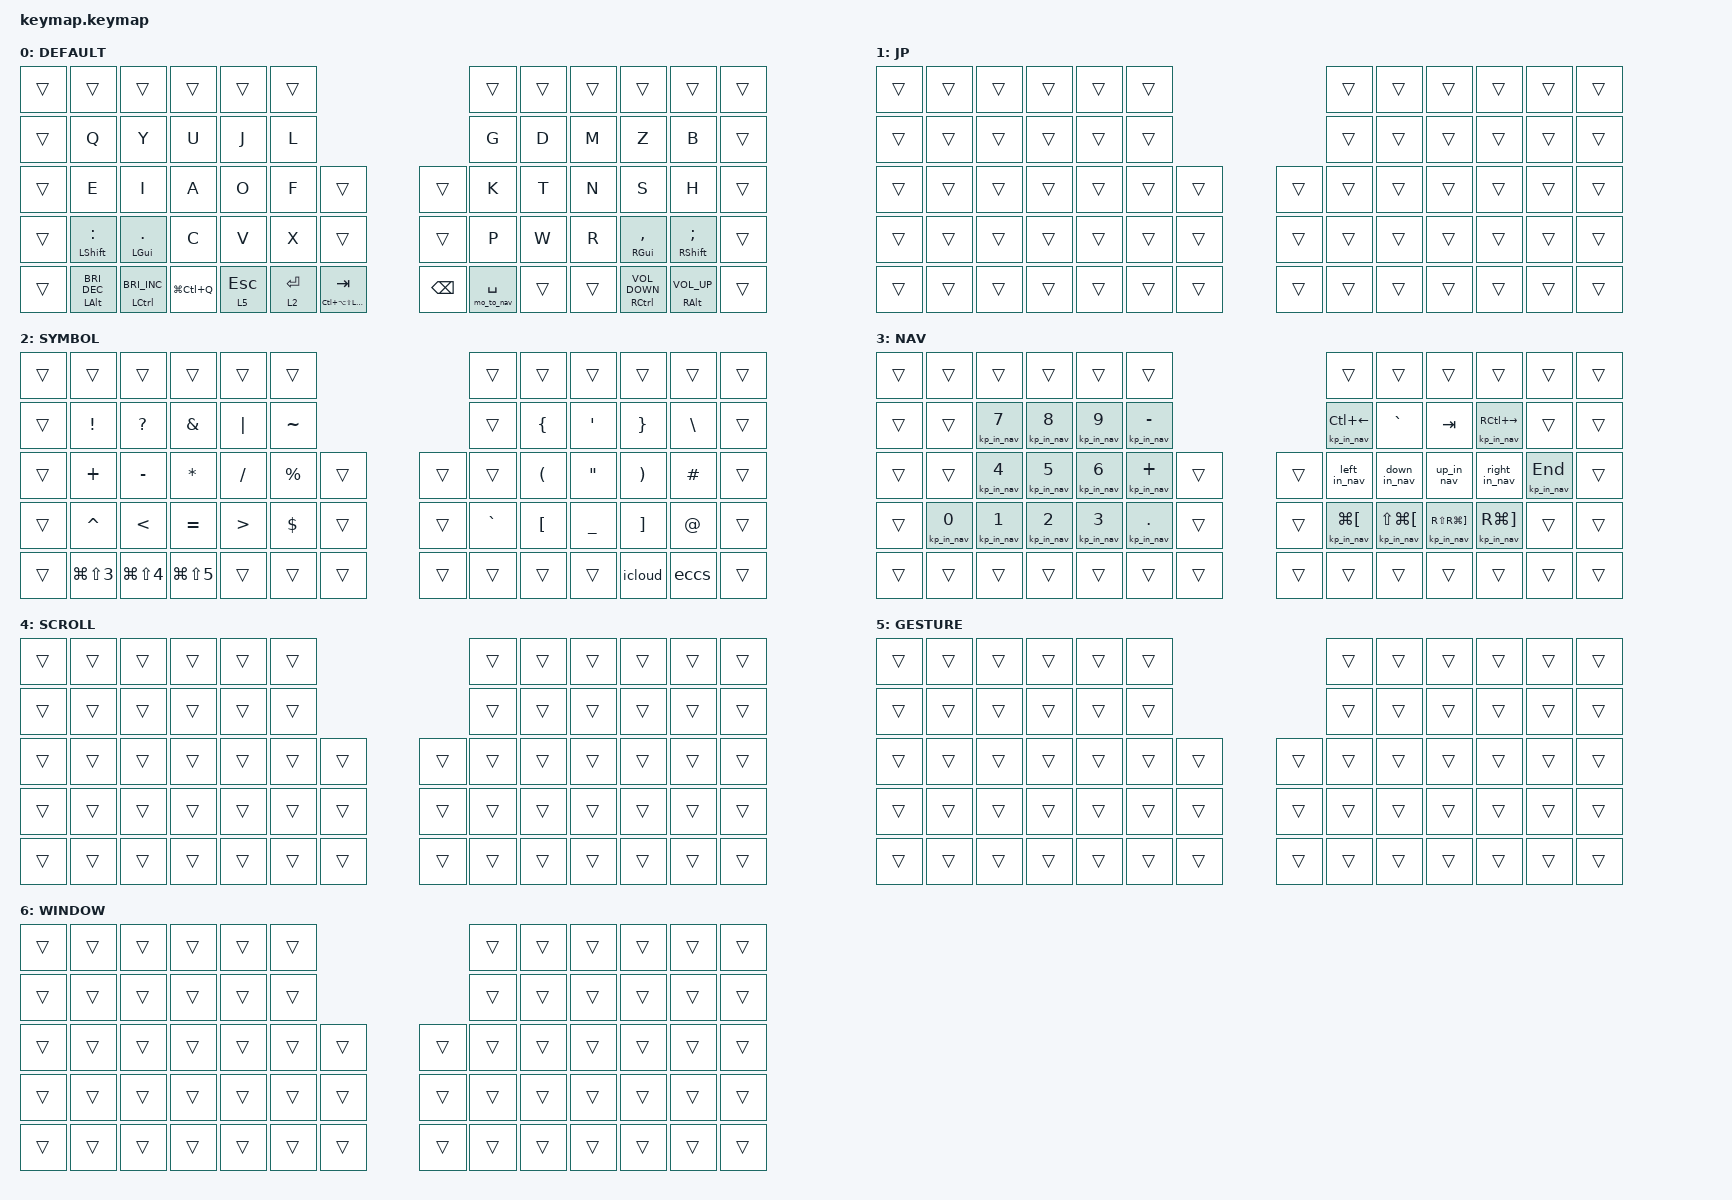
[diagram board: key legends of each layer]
#include <dt-bindings/zmk/input_transform.h>
#include <input/processors.dtsi>
#include <behaviors.dtsi>
#include <dt-bindings/zmk/keys.h>
#include <dt-bindings/zmk/pointing.h>

&pointing_listener {
    input-processors =
        <&zip_xy_scaler 2 3>,
        <&zip_xy_transform (INPUT_TRANSFORM_X_INVERT | INPUT_TRANSFORM_Y_INVERT)>;

    scroll {
        layers = <4>;
        input-processors =
            <&zip_xy_scaler 2 3>,
            <&zip_xy_transform (INPUT_TRANSFORM_X_INVERT)>,
            <&zip_xy_to_scroll_mapper>,
            <&zip_scroll_scaler 1 16>;
    };

    gesture {
        layers = <5>;
        input-processors =
            <&zip_xy_transform (INPUT_TRANSFORM_X_INVERT | INPUT_TRANSFORM_Y_INVERT)>,
            <&zip_gestures>;
    };

    window {
        layers = <6>;
        input-processors =
            <&zip_xy_transform (INPUT_TRANSFORM_X_INVERT | INPUT_TRANSFORM_Y_INVERT)>,
            <&zip_window_gestures>;
    };
};

&lt {
    hold-while-undecided;
    flavor = "hold-preferred";
};

&mt { flavor = "balanced"; };

/ {
    // Flick the trackball while GESTURE (Esc) or WINDOW (A+O) is held to tap one of these
    // bindings (up, down, left, right). They are only reachable by flicking, not by keys.
    // None of the gestures is used repeatedly, so ignore the ball for 800 ms after one fires.

    zip_gestures: zip_gestures {
        compatible = "zmk,input-processor-gestures";
        #input-processor-cells = <0>;
        bindings =
            <&kp LC(UP_ARROW)>,
            <&kp LC(DOWN_ARROW)>,
            <&kp F11>,
            <&kp LG(LC(F))>;

        cooldown-ms = <800>;
    };

    zip_window_gestures: zip_window_gestures {
        compatible = "zmk,input-processor-gestures";
        #input-processor-cells = <0>;
        bindings =
            <&kp LC(LG(UP_ARROW))>,
            <&kp LC(LG(DOWN_ARROW))>,
            <&kp LC(LG(LEFT_ARROW))>,
            <&kp LC(LG(RIGHT_ARROW))>;

        cooldown-ms = <800>;
    };

    combos {
        compatible = "zmk,combos";

        kana {
            bindings = <&tn_combo 4 0>;
            key-positions = <33 34>;
            layers = <0 1>;
        };

        eisuu {
            bindings = <&ao_combo 6 0>;
            key-positions = <28 27>;
            layers = <0 1>;
        };

        xn {
            bindings = <&xn_macro>;
            key-positions = <34 35>;
            layers = <1>;
        };

        minus {
            bindings = <&kp MINUS>;
            key-positions = <27 26>;
            timeout-ms = <40>;
            layers = <1>;
        };

        mb1 {
            bindings = <&mkp MB1>;
            timeout-ms = <80>;
            key-positions = <33 19>;
        };

        mb2 {
            bindings = <&mkp MB2>;
            timeout-ms = <80>;
            key-positions = <35 21>;
        };

        mb3 {
            bindings = <&mkp MB3>;
            timeout-ms = <80>;
            key-positions = <34 20>;
        };
    };

    behaviors {
        lt_to_nav: lt_to_nav {
            compatible = "zmk,behavior-hold-tap";
            label = "LT_TO_NAV";
            bindings = <&mo_to_nav>, <&kp>;

            #binding-cells = <2>;
            tapping-term-ms = <150>;
            hold-while-undecided;
        };

        tog_on: tog_on {
            compatible = "zmk,behavior-toggle-layer";
            label = "TOG_ON";
            #binding-cells = <1>;
            toggle-mode = "on";
        };

        tog_off: tog_off {
            compatible = "zmk,behavior-toggle-layer";
            label = "TOG_OFF";
            #binding-cells = <1>;
            toggle-mode = "off";
        };

        left_in_nav: left_in_nav {
            compatible = "zmk,behavior-mod-morph";
            label = "LEFT_IN_NAV";
            bindings = <&kp LEFT_ARROW>, <&kp LEFT_ARROW>;

            #binding-cells = <0>;
            mods = <(MOD_RGUI)>;
        };

        down_in_nav: down_in_nav {
            compatible = "zmk,behavior-mod-morph";
            label = "DOWN_IN_NAV";
            bindings = <&kp DOWN_ARROW>, <&kp DOWN_ARROW>;

            #binding-cells = <0>;
            mods = <(MOD_RGUI)>;
        };

        up_in_nav: up_in_nav {
            compatible = "zmk,behavior-mod-morph";
            label = "UP_IN_NAV";
            bindings = <&kp UP_ARROW>, <&kp UP_ARROW>;

            #binding-cells = <0>;
            mods = <(MOD_RGUI)>;
        };

        right_in_nav: right_in_nav {
            compatible = "zmk,behavior-mod-morph";
            label = "RIGHT_IN_NAV";
            bindings = <&kp RIGHT_ARROW>, <&kp RIGHT_ARROW>;

            #binding-cells = <0>;
            mods = <(MOD_RGUI)>;
        };

        tn_combo: tn_combo {
            compatible = "zmk,behavior-hold-tap";
            label = "TN_COMBO";
            bindings = <&mo>, <&kana_jp>;

            #binding-cells = <2>;
            flavor = "hold-preferred";
            tapping-term-ms = <150>;
            hold-while-undecided;
        };

        ao_combo: ao_combo {
            compatible = "zmk,behavior-hold-tap";
            label = "AO_COMBO";
            bindings = <&mo>, <&eisuu_default>;

            #binding-cells = <2>;
            flavor = "hold-preferred";
            tapping-term-ms = <150>;
            hold-while-undecided;
        };

        my_mt: my_mt {
            compatible = "zmk,behavior-hold-tap";
            label = "MY_MT";
            bindings = <&kp>, <&kp>;

            #binding-cells = <2>;
            flavor = "hold-preferred";
            tapping-term-ms = <200>;
            hold-while-undecided;
            balanced-key-positions = <56 57 58 59 60>;
        };
    };

    macros {
        mo_to_nav: mo_to_nav {
            compatible = "zmk,behavior-macro";
            #binding-cells = <0>;
            bindings =
                <&macro_press>,
                <&mo 3 &kp RIGHT_GUI>,
                <&macro_pause_for_release>,
                <&macro_release>,
                <&mo 3 &kp RIGHT_GUI>;

            label = "MO_TO_NAV";
        };

        kp_in_nav: kp_in_nav {
            compatible = "zmk,behavior-macro-one-param";
            #binding-cells = <1>;
            bindings =
                <&macro_release>,
                <&kp RIGHT_GUI>,
                <&macro_tap>,
                <&macro_param_1to1 &kp MACRO_PLACEHOLDER>,
                <&macro_press>,
                <&kp RIGHT_GUI>;

            label = "KP_IN_NAV";
        };

        // Track the input mode only when the kana/eisuu combo is tapped.
        // Explicit on/off also lets repeated taps resynchronize with the host.

        kana_jp: kana_jp {
            compatible = "zmk,behavior-macro";
            #binding-cells = <0>;
            wait-ms = <0>;
            tap-ms = <30>;
            bindings = <&macro_press>, <&tog_on 1>, <&macro_tap>, <&kp LANG1>;

            label = "KANA_JP";
        };

        eisuu_default: eisuu_default {
            compatible = "zmk,behavior-macro";
            #binding-cells = <0>;
            wait-ms = <0>;
            tap-ms = <30>;
            bindings = <&macro_press>, <&tog_off 1>, <&macro_tap>, <&kp LANG2>;

            label = "EISUU_DEFAULT";
        };

        xn_macro: xn_macro {
            compatible = "zmk,behavior-macro";
            #binding-cells = <0>;
            bindings = <&kp X &kp N>;
            label = "XN_MACRO";
        };

        icloud: icloud {
            compatible = "zmk,behavior-macro";
            #binding-cells = <0>;
            bindings = <&kp S &kp H &kp I &kp K &kp A &kp L &kp A &kp N &kp D &kp N0 &kp N9 &kp N2 &kp N7 &kp AT &kp I &kp C &kp L &kp O &kp U &kp D &kp DOT &kp C &kp O &kp M>;
            label = "ICLOUD";
        };

        eccs: eccs {
            compatible = "zmk,behavior-macro";
            #binding-cells = <0>;
            bindings = <&kp S &kp H &kp I &kp K &kp A &kp L &kp A &kp N &kp D &kp N0 &kp N9 &kp N2 &kp N7 &kp AT &kp G &kp DOT &kp E &kp C &kp C &kp DOT &kp U &kp MINUS &kp T &kp O &kp K &kp Y &kp O &kp DOT &kp A &kp C &kp DOT &kp J &kp P>;
            label = "ECCS";
        };
    };

    keymap {
        compatible = "zmk,keymap";

        DEFAULT {
            bindings = <
&trans  &trans                         &trans                             &trans         &trans        &trans                                                    &trans              &trans  &trans  &trans                           &trans                        &trans
&trans  &kp Q                          &kp Y                              &kp U          &kp J         &kp L                                                     &kp G               &kp D   &kp M   &kp Z                            &kp B                         &trans
&trans  &kp E                          &kp I                              &kp A          &kp O         &kp F        &trans                        &trans         &kp K               &kp T   &kp N   &kp S                            &kp H                         &trans
&trans  &my_mt LEFT_SHIFT COLON        &mt LEFT_GUI PERIOD                &kp C          &kp V         &kp X        &trans                        &trans         &kp P               &kp W   &kp R   &mt RIGHT_GUI COMMA              &my_mt RIGHT_SHIFT SEMICOLON  &trans
&trans  &mt LEFT_ALT C_BRIGHTNESS_DEC  &mt LEFT_CONTROL C_BRIGHTNESS_INC  &kp LG(LC(Q))  &lt 5 ESCAPE  &lt 2 ENTER  &mt LC(LA(LS(LEFT_GUI))) TAB  &kp BACKSPACE  &lt_to_nav 0 SPACE  &trans  &trans  &mt RIGHT_CONTROL C_VOLUME_DOWN  &mt RIGHT_ALT C_VOLUME_UP     &trans
            >;
        };

        // Keep JP transparent and right above DEFAULT, so combos limited to
        // DEFAULT/JP stay off while SYMBOL or NAV is held.

        JP {
            bindings = <
&trans  &trans  &trans  &trans  &trans  &trans                  &trans  &trans  &trans  &trans  &trans  &trans
&trans  &trans  &trans  &trans  &trans  &trans                  &trans  &trans  &trans  &trans  &trans  &trans
&trans  &trans  &trans  &trans  &trans  &trans  &trans  &trans  &trans  &trans  &trans  &trans  &trans  &trans
&trans  &trans  &trans  &trans  &trans  &trans  &trans  &trans  &trans  &trans  &trans  &trans  &trans  &trans
&trans  &trans  &trans  &trans  &trans  &trans  &trans  &trans  &trans  &trans  &trans  &trans  &trans  &trans
            >;
        };

        SYMBOL {
            bindings = <
&trans  &trans                &trans                &trans                &trans            &trans                       &trans     &trans                &trans             &trans                 &trans         &trans
&trans  &kp EXCLAMATION       &kp QUESTION          &kp AMPERSAND         &kp PIPE          &kp TILDE                    &trans     &kp LEFT_BRACE        &kp SQT            &kp RIGHT_BRACE        &kp BACKSLASH  &trans
&trans  &kp PLUS              &kp MINUS             &kp ASTERISK          &kp SLASH         &kp PERCENT  &trans  &trans  &trans     &kp LEFT_PARENTHESIS  &kp DOUBLE_QUOTES  &kp RIGHT_PARENTHESIS  &kp HASH       &trans
&trans  &kp CARET             &kp LESS_THAN         &kp EQUAL             &kp GREATER_THAN  &kp DOLLAR   &trans  &trans  &kp GRAVE  &kp LEFT_BRACKET      &kp UNDERSCORE     &kp RIGHT_BRACKET      &kp AT         &trans
&trans  &kp LG(LS(NUMBER_3))  &kp LG(LS(NUMBER_4))  &kp LG(LS(NUMBER_5))  &trans            &trans       &trans  &trans  &trans     &trans                &trans             &icloud                &eccs          &trans
            >;
        };

        NAV {
            bindings = <
&trans  &trans               &trans               &trans               &trans               &trans                             &trans                       &trans                           &trans                            &trans                        &trans                   &trans
&trans  &trans               &kp_in_nav N7        &kp_in_nav NUMBER_8  &kp_in_nav NUMBER_9  &kp_in_nav MINUS                   &kp_in_nav LC(LEFT_ARROW)    &kp GRAVE                        &kp TAB                           &kp_in_nav RC(RIGHT_ARROW)    &trans                   &trans
&trans  &trans               &kp_in_nav NUMBER_4  &kp_in_nav N5        &kp_in_nav NUMBER_6  &kp_in_nav PLUS    &trans  &trans  &left_in_nav                 &down_in_nav                     &up_in_nav                        &right_in_nav                 &kp_in_nav END           &trans
&trans  &kp_in_nav NUMBER_0  &kp_in_nav NUMBER_1  &kp_in_nav NUMBER_2  &kp_in_nav NUMBER_3  &kp_in_nav PERIOD  &trans  &trans  &kp_in_nav LG(LEFT_BRACKET)  &kp_in_nav LS(LG(LEFT_BRACKET))  &kp_in_nav RS(RG(RIGHT_BRACKET))  &kp_in_nav RG(RIGHT_BRACKET)  &trans                   &trans
&trans  &trans               &trans               &trans               &trans               &trans             &trans  &trans  &trans                       &trans                           &trans                            &trans                        &trans                   &trans
            >;
        };

        SCROLL {
            bindings = <
&trans  &trans  &trans  &trans  &trans  &trans                  &trans  &trans  &trans  &trans  &trans  &trans
&trans  &trans  &trans  &trans  &trans  &trans                  &trans  &trans  &trans  &trans  &trans  &trans
&trans  &trans  &trans  &trans  &trans  &trans  &trans  &trans  &trans  &trans  &trans  &trans  &trans  &trans
&trans  &trans  &trans  &trans  &trans  &trans  &trans  &trans  &trans  &trans  &trans  &trans  &trans  &trans
&trans  &trans  &trans  &trans  &trans  &trans  &trans  &trans  &trans  &trans  &trans  &trans  &trans  &trans
            >;
        };

        // Hold Esc to flick the trackball for &zip_gestures (keys stay transparent).

        GESTURE {
            bindings = <
&trans  &trans  &trans  &trans  &trans  &trans                  &trans  &trans  &trans  &trans  &trans  &trans
&trans  &trans  &trans  &trans  &trans  &trans                  &trans  &trans  &trans  &trans  &trans  &trans
&trans  &trans  &trans  &trans  &trans  &trans  &trans  &trans  &trans  &trans  &trans  &trans  &trans  &trans
&trans  &trans  &trans  &trans  &trans  &trans  &trans  &trans  &trans  &trans  &trans  &trans  &trans  &trans
&trans  &trans  &trans  &trans  &trans  &trans  &trans  &trans  &trans  &trans  &trans  &trans  &trans  &trans
            >;
        };

        // Hold A+O (tap is eisuu) to flick for &zip_window_gestures (keys stay transparent).

        WINDOW {
            bindings = <
&trans  &trans  &trans  &trans  &trans  &trans                  &trans  &trans  &trans  &trans  &trans  &trans
&trans  &trans  &trans  &trans  &trans  &trans                  &trans  &trans  &trans  &trans  &trans  &trans
&trans  &trans  &trans  &trans  &trans  &trans  &trans  &trans  &trans  &trans  &trans  &trans  &trans  &trans
&trans  &trans  &trans  &trans  &trans  &trans  &trans  &trans  &trans  &trans  &trans  &trans  &trans  &trans
&trans  &trans  &trans  &trans  &trans  &trans  &trans  &trans  &trans  &trans  &trans  &trans  &trans  &trans
            >;
        };
    };
};
